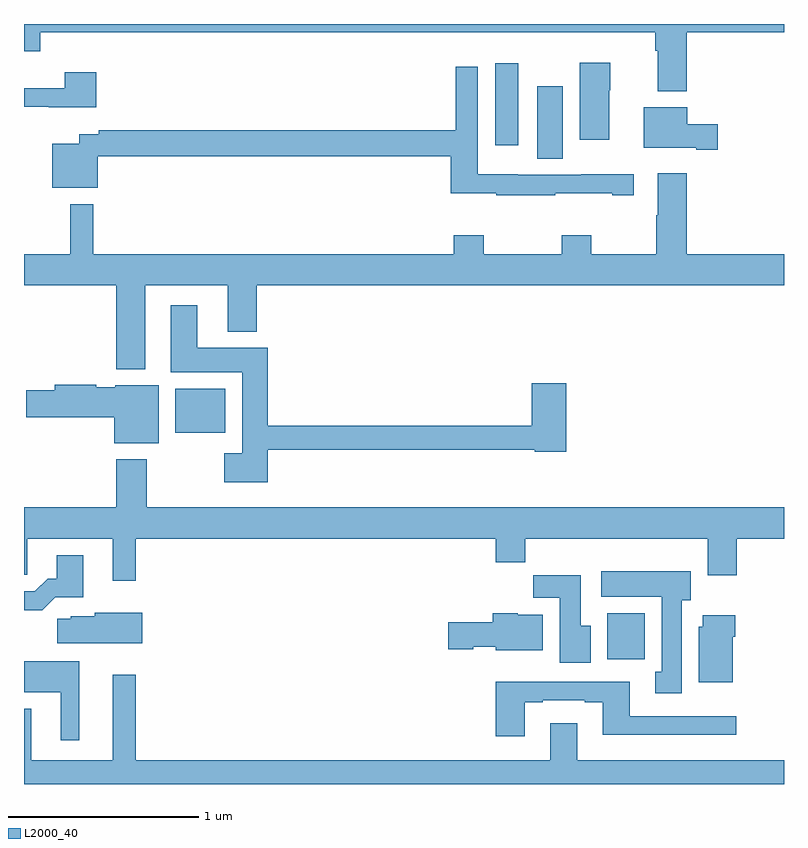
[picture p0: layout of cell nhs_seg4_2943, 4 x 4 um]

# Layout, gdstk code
import gdstk
lib = gdstk.Library(unit=1e-6, precision=1e-09)
def R(c, l, rs):  # rectangles x0, y0, x1, y1
    for r in rs: c.add(gdstk.rectangle(r[:2], r[2:], *l))
def P(c, l, *ps):  # polygons
    for p in ps: c.add(gdstk.Polygon(p, *l))
L2000_40 = (2000, 40)

nhs_seg4_2943 = lib.new_cell('nhs_seg4_2943')
R(nhs_seg4_2943, L2000_40, [(270.071,757.556,270.268,757.798), (267.797,758.75,268.06,758.98), (269.702,760.192,269.836,760.573), (269.48,760.263,269.602,760.693)])
P(nhs_seg4_2943, L2000_40, [(267,760.757),(267.086,760.757),(267.086,760.856),(270.323,760.856),(270.323,760.76),(270.335,760.76),(270.335,760.547),(270.488,760.547),(270.488,760.856),(271,760.856),(271,760.9),(267,760.9)],
  [(270.079,760.551),(270.085,760.551),(270.085,760.696),(269.924,760.696),(269.924,760.29),(270.079,760.29)],
  [(269.795,760.009),(270.095,760.009),(270.095,759.999),(270.208,759.999),(270.208,760.109),(269.932,760.109),(269.932,760.107),(269.598,760.107),(269.598,760.108),(269.388,760.108),(269.388,760.675),(269.272,760.675),(269.272,760.34),(267.394,760.34),(267.394,760.321),(267.291,760.321),(267.291,760.27),(267.149,760.27),(267.149,760.037),(267.387,760.037),(267.387,760.204),(269.246,760.204),(269.246,760.009),(269.485,760.009),(269.485,759.999),(269.795,759.999)],
  [(267.38,760.645),(267.215,760.645),(267.215,760.562),(267,760.562),(267,760.464),(267.131,760.464),(267.131,760.463),(267.38,760.463)],
  [(270.652,760.372),(270.49,760.372),(270.49,760.462),(270.263,760.462),(270.263,760.25),(270.539,760.25),(270.539,760.238),(270.652,760.238)],
  [(267.637,759.524),(268.073,759.524),(268.073,759.281),(268.226,759.281),(268.226,759.524),(271,759.524),(271,759.688),(270.488,759.688),(270.488,760.114),(270.335,760.114),(270.335,759.893),(270.328,759.893),(270.328,759.688),(269.985,759.688),(269.985,759.787),(269.83,759.787),(269.83,759.688),(269.421,759.688),(269.421,759.787),(269.261,759.787),(269.261,759.688),(267.365,759.688),(267.365,759.952),(267.244,759.952),(267.244,759.688),(267,759.688),(267,759.524),(267.485,759.524),(267.485,759.083),(267.637,759.083)],
  [(268.283,758.658),(269.688,758.658),(269.688,758.65),(269.855,758.65),(269.855,759.01),(269.672,759.01),(269.672,758.786),(268.283,758.786),(268.283,759.196),(267.913,759.196),(267.913,759.421),(267.773,759.421),(267.773,759.068),(268.148,759.068),(268.148,758.641),(268.053,758.641),(268.053,758.489),(268.283,758.489)],
  [(267.709,758.998),(267.48,758.998),(267.48,758.989),(267.38,758.989),(267.38,759.002),(267.161,759.002),(267.161,758.972),(267.012,758.972),(267.012,758.83),(267.476,758.83),(267.476,758.693),(267.709,758.693)],
  [(267.589,758.192),(269.483,758.192),(269.483,758.068),(269.639,758.068),(269.639,758.192),(270.599,758.192),(270.599,757.998),(270.752,757.998),(270.752,758.192),(271,758.192),(271,758.356),(267.645,758.356),(267.645,758.608),(267.485,758.608),(267.485,758.356),(267,758.356),(267,758.002),(267.018,758.002),(267.018,758.192),(267.467,758.192),(267.467,757.971),(267.589,757.971)],
  [(267.165,757.884),(267.313,757.884),(267.313,758.104),(267.173,758.104),(267.173,757.981),(267.124,757.981),(267.057,757.914),(267,757.914),(267,757.814),(267.095,757.814)],
  [(270.463,757.866),(270.508,757.866),(270.508,758.02),(270.039,758.02),(270.039,757.886),(270.356,757.886),(270.356,757.49),(270.323,757.49),(270.323,757.377),(270.463,757.377)],
  [(269.983,757.732),(269.929,757.732),(269.929,757.999),(269.68,757.999),(269.68,757.88),(269.819,757.88),(269.819,757.539),(269.983,757.539)],
  [(267.622,757.801),(267.372,757.801),(267.372,757.783),(267.246,757.783),(267.246,757.769),(267.174,757.769),(267.174,757.64),(267.622,757.64)],
  [(269.731,757.792),(269.598,757.792),(269.598,757.798),(269.468,757.798),(269.468,757.752),(269.232,757.752),(269.232,757.61),(269.364,757.61),(269.364,757.622),(269.484,757.622),(269.484,757.604),(269.731,757.604)],
  [(270.73,757.676),(270.743,757.676),(270.743,757.789),(270.572,757.789),(270.572,757.728),(270.551,757.728),(270.551,757.436),(270.73,757.436)],
  [(267.292,757.546),(267,757.546),(267,757.382),(267.194,757.382),(267.194,757.131),(267.292,757.131)],
  [(271,757.024),(269.911,757.024),(269.911,757.219),(269.771,757.219),(269.771,757.024),(267.589,757.024),(267.589,757.474),(267.467,757.474),(267.467,757.024),(267.037,757.024),(267.037,757.297),(267,757.297),(267,756.9),(271,756.9)],
  [(269.635,757.329),(269.731,757.329),(269.731,757.341),(269.951,757.341),(269.951,757.329),(270.047,757.329),(270.047,757.16),(270.748,757.16),(270.748,757.257),(270.187,757.257),(270.187,757.437),(269.723,757.437),(269.723,757.438),(269.483,757.438),(269.483,757.152),(269.635,757.152)])

lib.write_gds('nhs_seg4_2943.gds')
